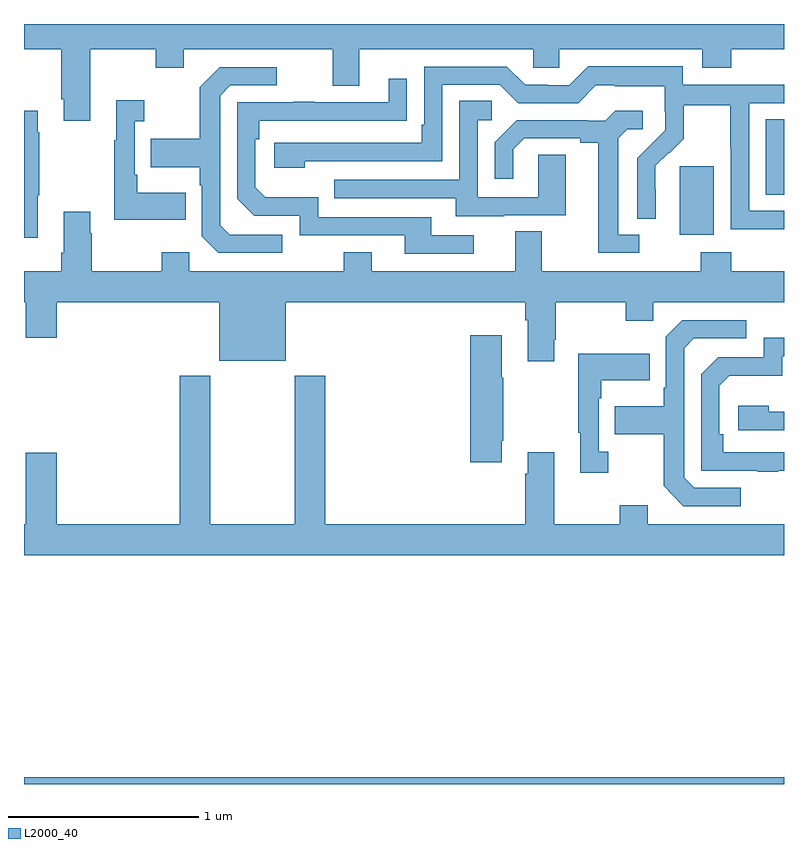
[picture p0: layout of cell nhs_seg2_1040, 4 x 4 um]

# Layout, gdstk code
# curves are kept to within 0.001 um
import gdstk
lib = gdstk.Library(unit=1e-6, precision=1e-09)
def R(c, l, rs):  # rectangles x0, y0, x1, y1
    for r in rs: c.add(gdstk.rectangle(r[:2], r[2:], *l))
def P(c, l, *ps):  # polygons
    for p in ps: c.add(gdstk.Polygon(p, *l))
L2000_40 = (2000, 40)

nhs_seg2_1040 = lib.new_cell('nhs_seg2_1040')
R(nhs_seg2_1040, L2000_40, [(165,611.8,169,611.836), (168.452,614.69,168.631,615.051), (168.905,614.902,169,615.299)])
P(nhs_seg2_1040, L2000_40, [(165.349,615.668),(165.694,615.668),(165.694,615.569),(165.841,615.569),(165.841,615.668),(166.625,615.668),(166.625,615.474),(166.765,615.474),(166.765,615.668),(167.679,615.668),(167.679,615.57),(167.817,615.57),(167.817,615.668),(168.569,615.668),(168.569,615.569),(168.722,615.569),(168.722,615.668),(169,615.668),(169,615.8),(165,615.8),(165,615.668),(165.197,615.668),(165.197,615.403),(165.209,615.403),(165.209,615.291),(165.349,615.291)],
  [(169,614.817),(168.816,614.817),(168.816,615.384),(169,615.384),(169,615.48),(168.468,615.48),(168.468,615.577),(167.971,615.577),(167.871,615.477),(167.756,615.477),(167.756,615.48),(167.637,615.48),(167.541,615.576),(167.106,615.576),(167.106,615.271),(167.093,615.271),(167.093,615.174),(166.317,615.174),(166.317,615.044),(166.478,615.044),(166.478,615.078),(167.202,615.078),(167.202,615.48),(167.505,615.48),(167.601,615.384),(167.916,615.384),(168.009,615.477),(168.109,615.477),(168.109,615.473),(168.372,615.473),(168.372,615.339),(168.374,615.339),(168.374,615.242),(168.228,615.094),(168.228,614.776),(168.324,614.776),(168.323,615.053),(168.393,615.123),(168.396,615.12),(168.473,615.197),(168.473,615.372),(168.718,615.372),(168.718,615.148),(168.72,615.148),(168.72,614.719),(169,614.719)],
  [(166.36,614.691),(166.083,614.691),(166.032,614.742),(166.032,615.423),(166.086,615.477),(166.33,615.477),(166.33,615.573),(166.029,615.573),(165.924,615.467),(165.924,615.195),(165.667,615.195),(165.667,615.047),(165.924,615.047),(165.924,614.951),(165.936,614.951),(165.936,614.682),(166.023,614.595),(166.36,614.595)],
  [(167.368,614.688),(167.143,614.688),(167.143,614.784),(166.548,614.784),(166.548,614.887),(166.271,614.887),(166.218,614.94),(166.218,615.194),(166.238,615.194),(166.238,615.291),(167.015,615.292),(167.015,615.511),(166.919,615.511),(166.919,615.387),(166.529,615.387),(166.529,615.392),(166.417,615.392),(166.417,615.387),(166.122,615.387),(166.122,614.88),(166.212,614.79),(166.452,614.79),(166.452,614.688),(167.003,614.688),(167.003,614.592),(167.368,614.592)],
  [(165.851,614.911),(165.595,614.911),(165.595,615.007),(165.582,615.007),(165.582,615.287),(165.634,615.287),(165.634,615.4),(165.485,615.4),(165.485,615.187),(165.474,615.187),(165.474,614.771),(165.851,614.771)],
  [(167.527,614.793),(167.851,614.793),(167.851,615.113),(167.706,615.113),(167.706,614.889),(167.388,614.889),(167.388,615.294),(167.461,615.294),(167.461,615.395),(167.292,615.395),(167.292,614.979),(166.633,614.979),(166.633,614.883),(167.273,614.883),(167.273,614.789),(167.527,614.789)],
  [(168.238,614.691),(168.127,614.691),(168.127,615.199),(168.174,615.246),(168.256,615.246),(168.256,615.343),(168.112,615.343),(168.06,615.291),(167.966,615.291),(167.966,615.294),(167.594,615.294),(167.478,615.178),(167.478,614.985),(167.575,614.985),(167.575,615.141),(167.632,615.198),(167.927,615.198),(167.927,615.176),(168.023,615.176),(168.023,614.595),(168.238,614.595)],
  [(165.073,614.899),(165.081,614.899),(165.081,615.23),(165.073,615.23),(165.073,615.343),(165,615.343),(165,614.676),(165.073,614.676)],
  [(167.791,614.137),(167.799,614.137),(167.799,614.336),(168.166,614.336),(168.166,614.237),(168.312,614.237),(168.312,614.336),(169,614.336),(169,614.5),(168.722,614.5),(168.722,614.599),(168.562,614.599),(168.562,614.5),(167.725,614.5),(167.725,614.708),(167.585,614.708),(167.585,614.5),(166.831,614.5),(166.831,614.599),(166.684,614.599),(166.684,614.5),(165.87,614.5),(165.87,614.599),(165.724,614.599),(165.724,614.5),(165.357,614.5),(165.357,614.699),(165.349,614.699),(165.349,614.812),(165.209,614.812),(165.209,614.596),(165.197,614.596),(165.197,614.5),(165,614.5),(165,614.336),(165.008,614.336),(165.008,614.148),(165.172,614.148),(165.172,614.336),(166.028,614.336),(166.028,614.027),(166.378,614.027),(166.378,614.336),(167.639,614.336),(167.639,614.24),(167.651,614.24),(167.651,614.025),(167.791,614.025)],
  [(168.772,613.359),(168.528,613.359),(168.474,613.413),(168.474,614.094),(168.525,614.145),(168.802,614.145),(168.802,614.241),(168.465,614.241),(168.378,614.154),(168.378,613.885),(168.366,613.885),(168.366,613.789),(168.109,613.789),(168.109,613.642),(168.366,613.642),(168.366,613.369),(168.471,613.263),(168.772,613.263)],
  [(167.515,613.606),(167.523,613.606),(167.523,613.937),(167.515,613.937),(167.515,614.161),(167.348,614.161),(167.348,613.494),(167.515,613.494)],
  [(168.971,613.449),(169,613.449),(169,613.545),(168.68,613.545),(168.68,613.642),(168.66,613.642),(168.66,613.896),(168.713,613.949),(168.99,613.949),(168.99,614.052),(169,614.052),(169,614.148),(168.894,614.148),(168.894,614.046),(168.654,614.046),(168.564,613.956),(168.564,613.449),(168.859,613.449),(168.859,613.444),(168.971,613.444)],
  [(168.076,613.55),(168.024,613.55),(168.024,613.829),(168.037,613.829),(168.037,613.925),(168.293,613.925),(168.293,614.065),(167.916,614.065),(167.916,613.649),(167.927,613.649),(167.927,613.437),(168.076,613.437)],
  [(169,613.168),(168.283,613.168),(168.283,613.267),(168.136,613.267),(168.136,613.168),(167.791,613.168),(167.791,613.546),(167.651,613.546),(167.651,613.433),(167.639,613.433),(167.639,613.168),(166.586,613.168),(166.586,613.948),(166.426,613.948),(166.426,613.168),(165.981,613.168),(165.981,613.948),(165.821,613.948),(165.821,613.168),(165.172,613.168),(165.172,613.543),(165.008,613.543),(165.008,613.168),(165,613.168),(165,613.004),(169,613.004)],
  [(169,613.758),(168.92,613.758),(168.92,613.792),(168.759,613.792),(168.759,613.662),(169,613.662)])

lib.write_gds('nhs_seg2_1040.gds')
